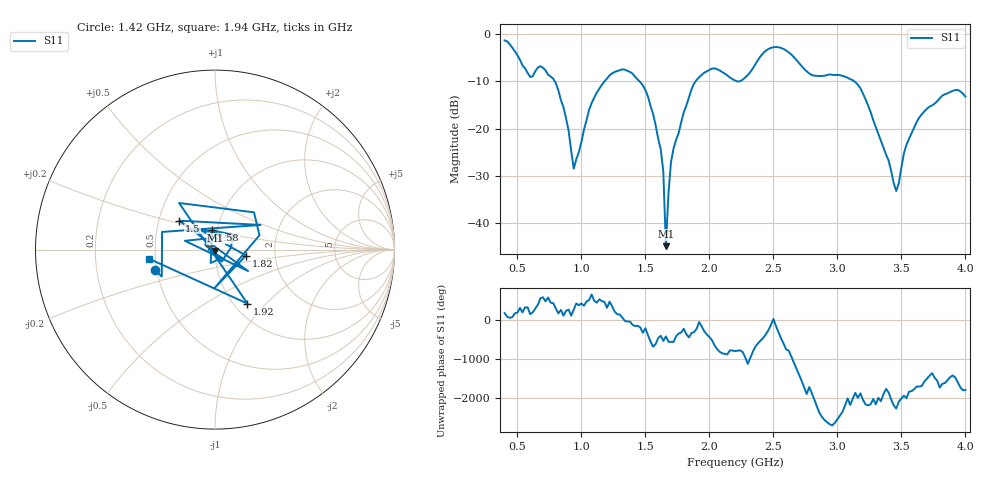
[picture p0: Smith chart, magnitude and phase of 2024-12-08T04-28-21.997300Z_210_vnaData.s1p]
!Created with skrf (http://scikit-rf.org).
# Hz S RI R 50.0
!freq ReS11 ImS11
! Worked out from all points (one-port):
!   181 points, 400 MHz to 4 GHz, reference 50 ohm
!   lowest |S11| = -44.8 dB at 1.66 GHz (marker M1), VSWR 1.01, Z = 50.2 - j0.523 ohm
!   |S11| at or under -10 dB: 792.7 MHz to 1.18 GHz (387 MHz wide, 39.2 % of centre); 1.455 GHz to 1.892 GHz (436.8 MHz wide, 26.1 % of centre); 3.134 GHz to end of sweep (the widest 3 of 4)
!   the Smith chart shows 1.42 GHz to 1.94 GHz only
!   S11 on the Smith chart (normalised r, x): 1.42 GHz: 0.49, -0.12; 1.5 GHz: 0.64, +0.22; 1.58 GHz: 0.95, +0.21; 1.82 GHz: 1.41, -0.10; 1.92 GHz: 1.15, -0.79; 1.94 GHz: 0.46, -0.05
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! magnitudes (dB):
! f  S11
! 400 MHz  -1.3
! 600 MHz  -9.0
! 680 MHz  -6.8
! 780 MHz  -9.4
! 860 MHz  -15.5
! 940 MHz  -28.5
! 1.08 GHz  -14.6
! 1.3 GHz  -7.6
! 1.42 GHz  -9.0
! 1.5 GHz  -11.8
! 1.58 GHz  -19.2
! 1.64 GHz  -29.1
! 1.66 GHz  -44.8
! 1.7 GHz  -27.0
! 1.76 GHz  -20.9
! 1.82 GHz  -15.1
! 1.92 GHz  -9.1
! 1.94 GHz  -8.6
! 2.2 GHz  -9.8
! 2.48 GHz  -2.9
! 2.66 GHz  -4.8
! 2.8 GHz  -8.6
! 3.1 GHz  -9.5
! 3.24 GHz  -15.1
! 3.46 GHz  -33.2
! 3.56 GHz  -22.1
! 3.82 GHz  -13.0
! 4 GHz  -13.2
